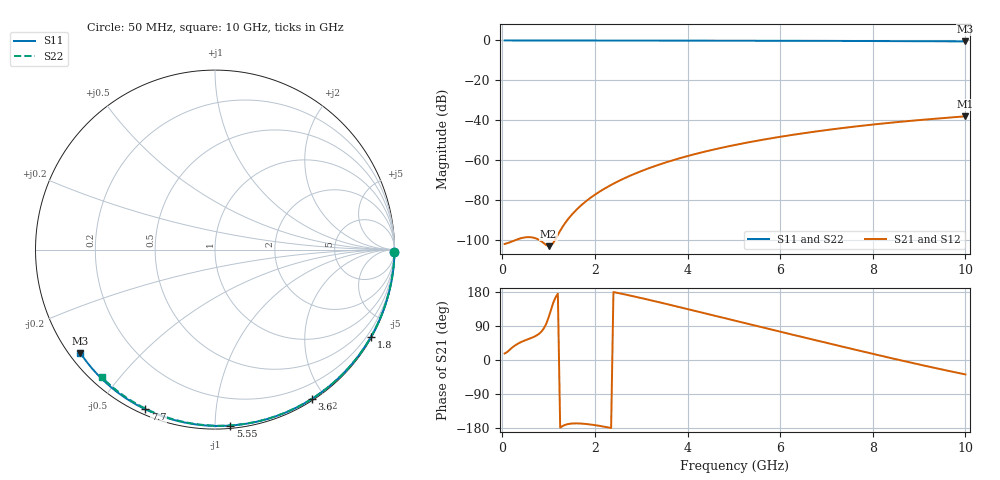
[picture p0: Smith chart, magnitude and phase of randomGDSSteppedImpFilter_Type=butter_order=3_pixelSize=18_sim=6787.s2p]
! freq	dB(S11)	phase(S11)	dB(S12)	phase(S12)
!  dB(S21)	phase(S21)	dB(S22)	phase(S22)
!S-par simulation data
#  GHz  S  DB  R 50
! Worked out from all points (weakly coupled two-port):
!   200 points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, 50 MHz to 10 GHz, reference 50 ohm
!   highest |S21| = -38.11 dB at 10 GHz (marker M1); lowest = -103.3 dB at 1 GHz (marker M2)
!   lowest |S11| = -0.5 dB at 10 GHz (marker M3), VSWR 35.90, Z = 1.55 - j17 ohm
!   |S11| at or under -10 dB: nowhere
!   |S22| runs from -0.4 to 0.0 dB; largest |S21 - S12| = 0
!   S11 on the Smith chart (normalised r, x): 50 MHz: open; 1.8 GHz: 0.03, -3.84; 3.6 GHz: 0.02, -1.84; 5.55 GHz: 0.02, -1.09; 7.7 GHz: 0.02, -0.65; 10 GHz: 0.03, -0.34
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0.05  -0.00 -0.8  -102.22 17.2  -102.22 17.2  -0.00 -0.8
0.5  -0.01 -8.2  -98.88 52.3  -98.88 52.3  -0.01 -7.6
1  -0.02 -16.4  -103.32 112.5  -103.32 112.5  -0.02 -15.1
1.75  -0.04 -28.4  -81.86 -168.2  -81.86 -168.2  -0.03 -26.2
1.8  -0.04 -29.2  -80.90 -168.7  -80.90 -168.7  -0.03 -27.0
1.85  -0.04 -30.0  -79.99 -169.4  -79.99 -169.4  -0.04 -27.7
2  -0.04 -32.4  -77.47 -171.9  -77.47 -171.9  -0.04 -29.9
2.15  -0.04 -34.7  -75.23 -174.9  -75.23 -174.9  -0.04 -32.1
2.35  -0.05 -37.9  -72.56 -179.4  -72.56 -179.4  -0.04 -35.0
2.55  -0.05 -41.0  -70.17 175.6  -70.17 175.6  -0.05 -37.9
2.95  -0.06 -47.2  -66.08 164.9  -66.08 164.9  -0.06 -43.6
3.4  -0.07 -54.0  -62.25 152.1  -62.25 152.1  -0.07 -50.0
3.6  -0.08 -57.0  -60.76 146.2  -60.76 146.2  -0.07 -52.7
4.3  -0.09 -67.3  -56.25 125.4  -56.25 125.4  -0.09 -62.3
5.05  -0.12 -78.1  -52.37 103.0  -52.37 103.0  -0.11 -72.3
5.55  -0.14 -85.0  -50.16 88.1  -50.16 88.1  -0.13 -78.8
6.1  -0.16 -92.5  -48.02 71.8  -48.02 71.8  -0.15 -85.8
6.7  -0.19 -100.5  -45.94 54.1  -45.94 54.1  -0.18 -93.2
7.7  -0.26 -113.5  -43.01 24.9  -43.01 24.9  -0.24 -105.2
8.35  -0.31 -121.8  -41.40 6.3  -41.40 6.3  -0.29 -112.8
9.2  -0.39 -132.5  -39.59 -17.2  -39.59 -17.2  -0.36 -122.6
10  -0.48 -142.5  -38.11 -38.1  -38.11 -38.1  -0.44 -131.7
